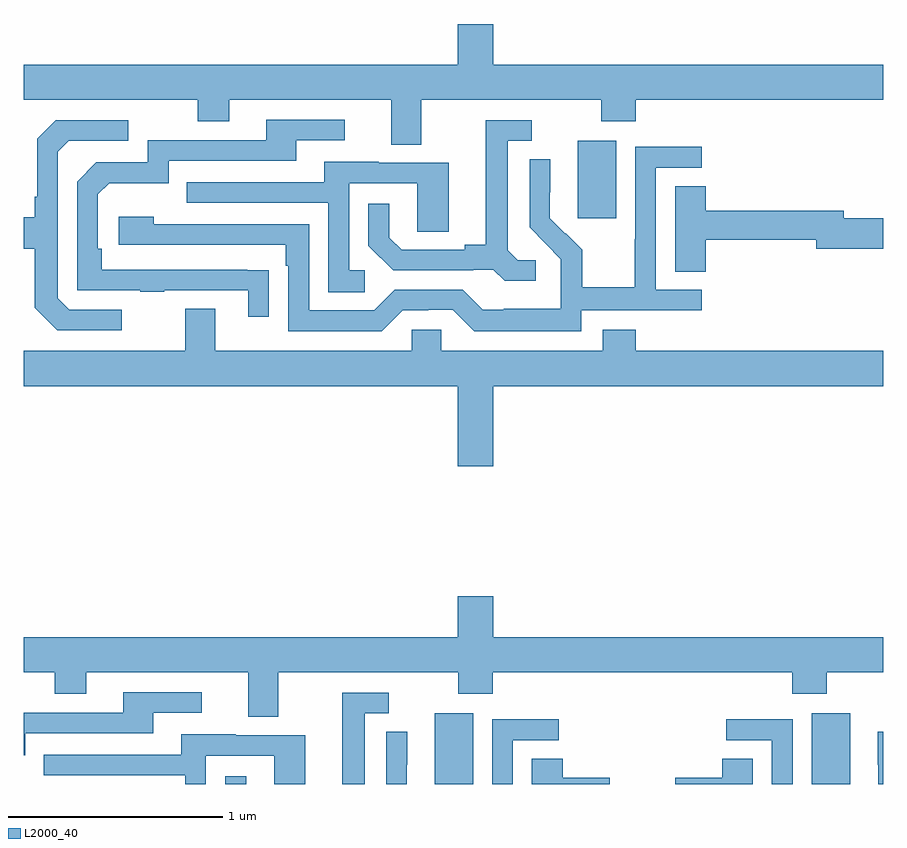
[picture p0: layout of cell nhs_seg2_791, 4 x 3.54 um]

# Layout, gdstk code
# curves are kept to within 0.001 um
import gdstk
lib = gdstk.Library(unit=1e-6, precision=1e-09)
def R(c, l, rs):  # rectangles x0, y0, x1, y1
    for r in rs: c.add(gdstk.rectangle(r[:2], r[2:], *l))
def P(c, l, *ps):  # polygons
    for p in ps: c.add(gdstk.Polygon(p, *l))
L2000_40 = (2000, 40)

nhs_seg2_791 = lib.new_cell('nhs_seg2_791')
R(nhs_seg2_791, L2000_40, [(151.938,629.8,152.035,629.836), (152.912,629.8,153.091,630.13), (154.667,629.8,154.846,630.13), (153.578,632.433,153.757,632.794)])
P(nhs_seg2_791, L2000_40, [(152.851,632.984),(153.688,632.984),(153.688,632.885),(153.848,632.885),(153.848,632.984),(155,632.984),(155,633.148),(153.184,633.148),(153.184,633.337),(153.02,633.337),(153.02,633.148),(151,633.148),(151,632.984),(151.81,632.984),(151.81,632.885),(151.957,632.885),(151.957,632.984),(152.711,632.984),(152.711,632.776),(152.851,632.776)],
  [(152.141,632.192),(151.364,632.193),(151.364,632.29),(151.344,632.29),(151.344,632.544),(151.397,632.597),(151.674,632.597),(151.674,632.7),(152.269,632.7),(152.269,632.796),(152.494,632.796),(152.494,632.892),(152.129,632.892),(152.129,632.796),(151.578,632.796),(151.578,632.694),(151.338,632.694),(151.248,632.604),(151.248,632.097),(151.543,632.097),(151.543,632.092),(151.655,632.092),(151.655,632.097),(152.045,632.097),(152.045,631.974),(152.141,631.974)],
  [(153.382,632.238),(153.3,632.238),(153.253,632.285),(153.253,632.793),(153.364,632.793),(153.364,632.889),(153.149,632.889),(153.149,632.309),(153.053,632.309),(153.053,632.286),(152.758,632.286),(152.701,632.343),(152.701,632.5),(152.604,632.5),(152.604,632.306),(152.72,632.19),(153.092,632.19),(153.092,632.193),(153.186,632.193),(153.238,632.141),(153.382,632.141)],
  [(151.456,632.007),(151.212,632.007),(151.158,632.061),(151.158,632.742),(151.209,632.793),(151.486,632.793),(151.486,632.889),(151.149,632.889),(151.062,632.802),(151.062,632.533),(151.05,632.533),(151.05,632.437),(151,632.437),(151,632.29),(151.05,632.29),(151.05,632.017),(151.155,631.911),(151.456,631.911)],
  [(153.594,632.004),(154.156,632.004),(154.156,632.1),(153.942,632.1),(153.942,632.667),(154.156,632.667),(154.156,632.766),(153.846,632.766),(153.846,632.336),(153.844,632.336),(153.844,632.113),(153.599,632.113),(153.599,632.287),(153.522,632.364),(153.519,632.361),(153.449,632.432),(153.45,632.708),(153.354,632.708),(153.354,632.39),(153.5,632.242),(153.5,632.145),(153.498,632.145),(153.498,632.011),(153.235,632.011),(153.235,632.007),(153.135,632.007),(153.042,632.1),(152.727,632.1),(152.631,632.004),(152.328,632.004),(152.328,632.406),(151.604,632.406),(151.604,632.44),(151.443,632.44),(151.443,632.31),(152.219,632.31),(152.219,632.213),(152.232,632.213),(152.232,631.908),(152.667,631.908),(152.763,632.004),(152.882,632.004),(152.882,632.007),(152.997,632.007),(153.097,631.907),(153.594,631.907)],
  [(152.587,632.19),(152.514,632.19),(152.514,632.595),(152.832,632.595),(152.832,632.371),(152.977,632.371),(152.977,632.691),(152.653,632.691),(152.653,632.695),(152.399,632.695),(152.399,632.601),(151.759,632.601),(151.759,632.505),(152.418,632.505),(152.418,632.089),(152.587,632.089)],
  [(154.175,632.332),(154.688,632.332),(154.688,632.29),(155,632.29),(155,632.432),(154.816,632.432),(154.816,632.468),(154.175,632.468),(154.175,632.582),(154.031,632.582),(154.031,632.185),(154.175,632.185)],
  [(153.184,631.652),(155,631.652),(155,631.816),(153.848,631.816),(153.848,631.915),(153.695,631.915),(153.695,631.816),(152.943,631.816),(152.943,631.914),(152.805,631.914),(152.805,631.816),(151.891,631.816),(151.891,632.011),(151.751,632.011),(151.751,631.816),(151,631.816),(151,631.652),(153.02,631.652),(153.02,631.278),(153.184,631.278)],
  [(152.185,630.32),(153.022,630.32),(153.022,630.221),(153.182,630.221),(153.182,630.32),(154.577,630.32),(154.577,630.221),(154.737,630.221),(154.737,630.32),(155,630.32),(155,630.484),(153.184,630.484),(153.184,630.673),(153.02,630.673),(153.02,630.484),(151,630.484),(151,630.32),(151.144,630.32),(151.144,630.221),(151.291,630.221),(151.291,630.32),(152.045,630.32),(152.045,630.112),(152.185,630.112)],
  [(151.008,630.036),(151.603,630.036),(151.603,630.132),(151.828,630.132),(151.828,630.228),(151.463,630.228),(151.463,630.132),(151,630.132),(151,629.933),(151.008,629.933)],
  [(152.587,630.129),(152.698,630.129),(152.698,630.225),(152.483,630.225),(152.483,629.8),(152.587,629.8)],
  [(153.276,630.003),(153.49,630.003),(153.49,630.102),(153.18,630.102),(153.18,629.8),(153.276,629.8)],
  [(154.578,630.102),(154.269,630.102),(154.269,630.003),(154.482,630.003),(154.482,629.8),(154.578,629.8)],
  [(152.783,629.89),(152.784,629.89),(152.784,630.044),(152.688,630.044),(152.688,629.8),(152.783,629.8)],
  [(155,630.044),(154.974,630.044),(154.974,629.89),(154.976,629.89),(154.976,629.8),(155,629.8)],
  [(151.848,629.931),(152.166,629.931),(152.166,629.8),(152.311,629.8),(152.311,630.027),(151.987,630.027),(151.987,630.031),(151.733,630.031),(151.733,629.937),(151.093,629.937),(151.093,629.841),(151.752,629.841),(151.752,629.8),(151.848,629.8)],
  [(154.393,629.918),(154.25,629.918),(154.25,629.828),(154.032,629.828),(154.032,629.8),(154.393,629.8)],
  [(153.727,629.828),(153.509,629.828),(153.509,629.918),(153.365,629.918),(153.365,629.8),(153.727,629.8)])

lib.write_gds('nhs_seg2_791.gds')
